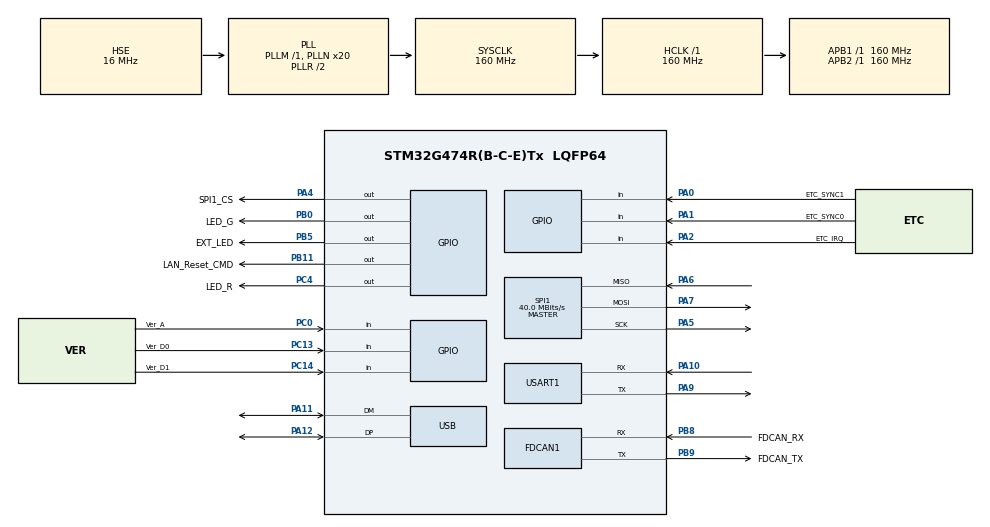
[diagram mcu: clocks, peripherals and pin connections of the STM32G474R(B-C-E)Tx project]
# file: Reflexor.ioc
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Dma.Request0=SPI1_RX
Dma.Request1=SPI1_TX
Dma.Request2=USART1_RX
Dma.Request3=USART1_TX
Dma.SPI1_RX.0.Direction=DMA_PERIPH_TO_MEMORY
Dma.SPI1_RX.0.EventEnable=DISABLE
Dma.SPI1_RX.0.Instance=DMA1_Channel3
Dma.SPI1_RX.0.MemDataAlignment=DMA_MDATAALIGN_BYTE
Dma.SPI1_RX.0.MemInc=DMA_MINC_ENABLE
Dma.SPI1_RX.0.Mode=DMA_NORMAL
Dma.SPI1_RX.0.PeriphDataAlignment=DMA_PDATAALIGN_BYTE
Dma.SPI1_RX.0.PeriphInc=DMA_PINC_DISABLE
Dma.SPI1_RX.0.Polarity=HAL_DMAMUX_REQ_GEN_RISING
Dma.SPI1_RX.0.Priority=DMA_PRIORITY_HIGH
Dma.SPI1_RX.0.RequestNumber=1
Dma.SPI1_RX.0.SignalID=NONE
Dma.SPI1_RX.0.SyncEnable=DISABLE
Dma.SPI1_RX.0.SyncPolarity=HAL_DMAMUX_SYNC_NO_EVENT
Dma.SPI1_RX.0.SyncRequestNumber=1
Dma.SPI1_RX.0.SyncSignalID=NONE
Dma.SPI1_TX.1.Direction=DMA_MEMORY_TO_PERIPH
Dma.SPI1_TX.1.EventEnable=DISABLE
Dma.SPI1_TX.1.Instance=DMA1_Channel1
Dma.SPI1_TX.1.MemDataAlignment=DMA_MDATAALIGN_BYTE
Dma.SPI1_TX.1.MemInc=DMA_MINC_ENABLE
Dma.SPI1_TX.1.Mode=DMA_NORMAL
Dma.SPI1_TX.1.PeriphDataAlignment=DMA_PDATAALIGN_BYTE
Dma.SPI1_TX.1.PeriphInc=DMA_PINC_DISABLE
Dma.SPI1_TX.1.Polarity=HAL_DMAMUX_REQ_GEN_RISING
Dma.SPI1_TX.1.Priority=DMA_PRIORITY_HIGH
Dma.SPI1_TX.1.RequestNumber=1
Dma.SPI1_TX.1.SignalID=NONE
Dma.SPI1_TX.1.SyncEnable=DISABLE
Dma.SPI1_TX.1.SyncPolarity=HAL_DMAMUX_SYNC_NO_EVENT
Dma.SPI1_TX.1.SyncRequestNumber=1
Dma.SPI1_TX.1.SyncSignalID=NONE
Dma.USART1_RX.2.Direction=DMA_PERIPH_TO_MEMORY
Dma.USART1_RX.2.EventEnable=DISABLE
Dma.USART1_RX.2.Instance=DMA1_Channel2
Dma.USART1_RX.2.MemDataAlignment=DMA_MDATAALIGN_BYTE
Dma.USART1_RX.2.MemInc=DMA_MINC_ENABLE
Dma.USART1_RX.2.Mode=DMA_NORMAL
Dma.USART1_RX.2.PeriphDataAlignment=DMA_PDATAALIGN_BYTE
Dma.USART1_RX.2.PeriphInc=DMA_PINC_DISABLE
Dma.USART1_RX.2.Polarity=HAL_DMAMUX_REQ_GEN_RISING
Dma.USART1_RX.2.Priority=DMA_PRIORITY_LOW
Dma.USART1_RX.2.RequestNumber=1
Dma.USART1_RX.2.SignalID=NONE
Dma.USART1_RX.2.SyncEnable=DISABLE
Dma.USART1_RX.2.SyncPolarity=HAL_DMAMUX_SYNC_NO_EVENT
Dma.USART1_RX.2.SyncRequestNumber=1
Dma.USART1_RX.2.SyncSignalID=NONE
Dma.USART1_TX.3.Direction=DMA_MEMORY_TO_PERIPH
Dma.USART1_TX.3.EventEnable=DISABLE
Dma.USART1_TX.3.Instance=DMA1_Channel4
Dma.USART1_TX.3.MemDataAlignment=DMA_MDATAALIGN_BYTE
Dma.USART1_TX.3.MemInc=DMA_MINC_ENABLE
Dma.USART1_TX.3.Mode=DMA_NORMAL
Dma.USART1_TX.3.PeriphDataAlignment=DMA_PDATAALIGN_BYTE
Dma.USART1_TX.3.PeriphInc=DMA_PINC_DISABLE
Dma.USART1_TX.3.Polarity=HAL_DMAMUX_REQ_GEN_RISING
Dma.USART1_TX.3.Priority=DMA_PRIORITY_LOW
Dma.USART1_TX.3.RequestNumber=1
Dma.USART1_TX.3.SignalID=NONE
Dma.USART1_TX.3.SyncEnable=DISABLE
Dma.USART1_TX.3.SyncPolarity=HAL_DMAMUX_SYNC_NO_EVENT
Dma.USART1_TX.3.SyncRequestNumber=1
Dma.USART1_TX.3.SyncSignalID=NONE
FDCAN1.AutoRetransmission=DISABLE
FDCAN1.CalculateBaudRateNominal=1000000
FDCAN1.CalculateTimeBitNominal=1000
FDCAN1.CalculateTimeQuantumNominal=25.0
FDCAN1.ClockDivider=FDCAN_CLOCK_DIV1
FDCAN1.DataPrescaler=1
FDCAN1.DataSyncJumpWidth=6
FDCAN1.DataTimeSeg1=13
FDCAN1.DataTimeSeg2=6
FDCAN1.FrameFormat=FDCAN_FRAME_FD_BRS
FDCAN1.NominalPrescaler=4
FDCAN1.NominalSyncJumpWidth=8
FDCAN1.NominalTimeSeg1=31
FDCAN1.NominalTimeSeg2=8
FDCAN1.StdFiltersNbr=1
FDCAN1.TransmitPause=DISABLE
FREERTOS.INCLUDE_eTaskGetState=1
FREERTOS.INCLUDE_pcTaskGetTaskName=1
FREERTOS.INCLUDE_xEventGroupSetBitFromISR=1
FREERTOS.INCLUDE_xTaskGetCurrentTaskHandle=1
FREERTOS.INCLUDE_xTimerPendFunctionCall=1
FREERTOS.Tasks01=appTest,-3,128,appTestTask,Default,NULL,Dynamic,NULL,NULL;ethCat,3,1024,ethCatTask,Default,NULL,Dynamic,NULL,NULL;canM,2,1024,canMTask,Default,NULL,Dynamic,NULL,NULL;canIdle,1,512,canIdleTask,Default,NULL,Dynamic,NULL,NULL
FREERTOS.Timers01=timerCounter500us,timerCounterCb,osTimerPeriodic,As weak,NULL,Dynamic,NULL
FREERTOS.configCHECK_FOR_STACK_OVERFLOW=0
FREERTOS.configENABLE_FPU=1
FREERTOS.configGENERATE_RUN_TIME_STATS=1
FREERTOS.configTIMER_TASK_PRIORITY=6
FREERTOS.configTOTAL_HEAP_SIZE=20480
FREERTOS.configUSE_DAEMON_TASK_STARTUP_HOOK=1
FREERTOS.configUSE_IDLE_HOOK=1
FREERTOS.configUSE_NEWLIB_REENTRANT=1
FREERTOS.configUSE_TIMERS=1
FREERTOS.configUSE_TRACE_FACILITY=1
Mcu.Family=STM32G4
Mcu.Name=STM32G474R(B-C-E)Tx
Mcu.Package=LQFP64
NVIC.DMA1_Channel1_IRQn=true\:5\:0\:false\:false\:true\:true\:false\:true\:true
NVIC.DMA1_Channel2_IRQn=true\:5\:0\:false\:false\:true\:true\:false\:true\:true
NVIC.DMA1_Channel3_IRQn=true\:5\:0\:false\:false\:true\:true\:false\:true\:true
NVIC.DMA1_Channel4_IRQn=true\:5\:0\:false\:false\:true\:true\:false\:true\:true
NVIC.FDCAN1_IT0_IRQn=true\:5\:0\:false\:false\:true\:true\:true\:true\:true
NVIC.PriorityGroup=NVIC_PRIORITYGROUP_4
NVIC.TIM1_UP_TIM16_IRQn=true\:15\:0\:false\:false\:true\:false\:false\:true\:true
NVIC.TimeBase=TIM1_UP_TIM16_IRQn
NVIC.TimeBaseIP=TIM1
NVIC.USART1_IRQn=true\:5\:0\:false\:false\:true\:true\:true\:true\:true
NVIC.USB_LP_IRQn=true\:5\:0\:false\:false\:true\:true\:false\:true\:true
PA0.GPIO_Label=ETC_SYNC1
PA0.GPIO_PuPd=GPIO_PULLUP
PA0.Signal=GPIO_Input
PA1.GPIO_Label=ETC_SYNC0
PA1.GPIO_PuPd=GPIO_PULLUP
PA1.Signal=GPIO_Input
PA10.GPIO_Speed=GPIO_SPEED_FREQ_HIGH
PA10.Mode=Asynchronous
PA10.Signal=USART1_RX
PA11.Mode=Device
PA11.Signal=USB_DM
PA12.Mode=Device
PA12.Signal=USB_DP
PA13.Mode=Trace_Asynchronous_SW
PA13.Signal=SYS_JTMS-SWDIO
PA14.Mode=Trace_Asynchronous_SW
PA14.Signal=SYS_JTCK-SWCLK
PA2.GPIO_Label=ETC_IRQ
PA2.GPIO_PuPd=GPIO_PULLUP
PA2.Signal=GPIO_Input
PA4.GPIO_Label=SPI1_CS
PA4.GPIO_PuPd=GPIO_PULLUP
PA4.GPIO_Speed=GPIO_SPEED_FREQ_HIGH
PA4.PinState=GPIO_PIN_SET
PA4.Signal=GPIO_Output
PA5.GPIO_Speed=GPIO_SPEED_FREQ_VERY_HIGH
PA5.Mode=Full_Duplex_Master
PA5.Signal=SPI1_SCK
PA6.GPIO_Speed=GPIO_SPEED_FREQ_VERY_HIGH
PA6.Mode=Full_Duplex_Master
PA6.Signal=SPI1_MISO
PA7.GPIO_Speed=GPIO_SPEED_FREQ_VERY_HIGH
PA7.Mode=Full_Duplex_Master
PA7.Signal=SPI1_MOSI
PA9.GPIO_Speed=GPIO_SPEED_FREQ_HIGH
PA9.Mode=Asynchronous
PA9.Signal=USART1_TX
PB0.GPIO_Label=LED_G
PB0.GPIO_PuPd=GPIO_PULLUP
PB0.GPIO_Speed=GPIO_SPEED_FREQ_LOW
PB0.PinState=GPIO_PIN_SET
PB0.Signal=GPIO_Output
PB11.GPIO_Label=LAN_Reset_CMD
PB11.Signal=GPIO_Output
PB3.Mode=Trace_Asynchronous_SW
PB3.Signal=SYS_JTDO-SWO
PB5.GPIO_Label=EXT_LED
PB5.Signal=GPIO_Output
PB8-BOOT0.GPIO_FM8=SYSCFG_FASTMODEPLUS_PB8
PB8-BOOT0.GPIO_Label=FDCAN_RX
PB8-BOOT0.GPIO_Speed=GPIO_SPEED_FREQ_HIGH
PB8-BOOT0.Mode=FDCAN_Activate
PB8-BOOT0.Signal=FDCAN1_RX
PB9.GPIO_FM9=SYSCFG_FASTMODEPLUS_PB9
PB9.GPIO_Label=FDCAN_TX
PB9.GPIO_Speed=GPIO_SPEED_FREQ_HIGH
PB9.Mode=FDCAN_Activate
PB9.Signal=FDCAN1_TX
PC0.GPIO_Label=Ver_A
PC0.Signal=GPIO_Input
PC13.GPIO_Label=Ver_D0
PC13.Signal=GPIO_Input
PC14-OSC32_IN.GPIO_Label=Ver_D1
PC14-OSC32_IN.Signal=GPIO_Input
PC4.GPIO_Label=LED_R
PC4.Signal=GPIO_Output
PC8.Signal=I2C3_SCL
PC9.Signal=I2C3_SDA
PF0-OSC_IN.Mode=HSE-External-Oscillator
PF0-OSC_IN.Signal=RCC_OSC_IN
PF1-OSC_OUT.Mode=HSE-External-Oscillator
PF1-OSC_OUT.Signal=RCC_OSC_OUT
ProjectManager.HeapSize=0x200
ProjectManager.StackSize=0x400
ProjectManager.TargetToolchain=STM32CubeIDE
RCC.ADC12Freq_Value=160000000
RCC.ADC345Freq_Value=160000000
RCC.AHBFreq_Value=160000000
RCC.APB1Freq_Value=160000000
RCC.APB1TimFreq_Value=160000000
RCC.APB2Freq_Value=160000000
RCC.APB2TimFreq_Value=160000000
RCC.CK48CLockSelection=RCC_USBCLKSOURCE_HSI48
RCC.CortexFreq_Value=160000000
RCC.EXTERNAL_CLOCK_VALUE=12288000
RCC.HCLKFreq_Value=160000000
RCC.HSE_VALUE=16000000
RCC.HSI48_VALUE=48000000
RCC.HSI_VALUE=16000000
RCC.LSE_VALUE=32768
RCC.PLLN=20
RCC.PLLSourceVirtual=RCC_PLLSOURCE_HSE
RCC.SYSCLKFreq_VALUE=160000000
RCC.SYSCLKSource=RCC_SYSCLKSOURCE_PLLCLK
RCC.USBFreq_Value=48000000
RCC.VCOOutputFreq_Value=320000000
SPI1.BaudRatePrescaler=SPI_BAUDRATEPRESCALER_4
SPI1.CLKPhase=SPI_PHASE_1EDGE
SPI1.CLKPolarity=SPI_POLARITY_LOW
SPI1.CalculateBaudRate=40.0 MBits/s
SPI1.DataSize=SPI_DATASIZE_8BIT
SPI1.Direction=SPI_DIRECTION_2LINES
SPI1.Mode=SPI_MODE_MASTER
SPI1.NSSPMode=SPI_NSS_PULSE_DISABLE
SPI1.VirtualType=VM_MASTER
USART1.FIFOMode=FIFOMODE_DISABLE
USART1.MSBFirstParam=ADVFEATURE_MSBFIRST_DISABLE
USART1.VirtualMode-Asynchronous=VM_ASYNC
USB_DEVICE.CLASS_NAME_FS=CDC
USB_DEVICE.VirtualMode=Cdc
USB_DEVICE.VirtualModeFS=Cdc_FS
VP_FREERTOS_VS_CMSIS_V1.Mode=CMSIS_V1
VP_SYS_VS_tim1.Mode=TIM1
VP_USB_DEVICE_VS_USB_DEVICE_CDC_FS.Mode=CDC_FS
board=custom

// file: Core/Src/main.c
/* USER CODE BEGIN Header */
/**
  ******************************************************************************
  * @file           : main.c
  * @brief          : Main program body
  ******************************************************************************
  * @attention
  *
  * Copyright (c) 2023 STMicroelectronics.
  * All rights reserved.
  *
  * This software is licensed under terms that can be found in the LICENSE file
  * in the root directory of this software component.
  * If no LICENSE file comes with this software, it is provided AS-IS.
  *
  ******************************************************************************
  */
/* USER CODE END Header */
#include "main.h"
#include "cmsis_os.h"
#include "dma.h"
#include "fdcan.h"
#include "spi.h"
#include "usart.h"
#include "usb_device.h"
#include "gpio.h"

/* USER CODE BEGIN Includes */
#include <stdint.h>
#include <stdio.h>
#include <unistd.h>
#include "uartDma.h"
#include "SEGGER_SYSVIEW.h"

/*  ZIV USB Testing start */

#include "usbd_cdc.h"
#include "usbd_cdc_if.h"
#include "usb_device.h"

/* USER CODE END Includes */

void SystemClock_Config(void);
void MX_FREERTOS_Init(void);

/* USER CODE BEGIN 0 */
logMessageStruct logMessage;
void sendMessage(messageOrigin origin, uint8_t paramCount,...){
	va_list args;
	va_start(args, paramCount);
	uint8_t buffer[40];
	buffer[0] ='$'; // size is 1 for pre and 32 for size of logmessage and some extras to avoid faults. the pre is for pcorssing in the parser host side.
	uint8_t *source = (uint8_t *)&logMessage;
	uint8_t *destination = (uint8_t *)&buffer[1];
	logMessage.origin = origin;
	ESC_read (0x0910, (void *) &logMessage.timestamp, 8);
	memset(logMessage.params , 0, sizeof(logMessage.params )); // clear to zeros
	for (int i = 0; i < paramCount; i++) {
	        uint32_t param = va_arg(args, uint32_t);
	        logMessage.params[i]=  param;
	}
	for (size_t i = 0; i < sizeof(logMessageStruct); i++) {
	    destination[i] = source[i];
	}
	buffer[1+sizeof(logMessageStruct)] ='\n';
	//memcpy((uint8_t * )&buffer[1],(uint8_t *) &logMessage, sizeof(logMessageStruct));
	//for (uint8_t i =0; i<sizeof(logMessageStruct);i++)
		//buffer[1+i] = (uint8_t *)(&logMessage +i);
	CDC_Transmit_FS((uint8_t*)&buffer, sizeof(logMessageStruct)+2);
	//CDC_Transmit_FS((uint8_t*)&logMessage, 32);
	}

void cdc_printf(const char *format, ...)
{
    va_list args;
    va_start(args, format);

    // Calculate the size needed for the formatted string
    int len = vsnprintf(NULL, 0, format, args);
    va_end(args);

    if (len <= 0)
        return;

    // Allocate a buffer for the formatted string
    char buffer[len + 1]; // +1 for null-terminator

    // Format the string into the buffer
    va_start(args, format);
    vsnprintf(buffer, sizeof(buffer), format, args);
    va_end(args);

    // Transmit the formatted string over USB CDC
    CDC_Transmit_FS((uint8_t*)buffer, len);
}

void measure(uint32_t timestamp){

	static uint32_t holder[100];
	static uint8_t counter =0;

	holder[counter++] = timestamp;
;
	if (counter >= 100){
		for (uint8_t i =0; i<100;++i)
			cdc_printf("%d\t%u\n",i, holder[i]);

		counter = 0;
	}

}

uint32_t GetCycleCount(void)
{
    return DWT->CYCCNT; // Read cycle counter value
}

/* USER CODE END 0 */

uint8_t inBuffer[RX_BUFFER_SIZE];
uint8_t usbRxEvent;
int main(void)
{

  /* MCU Configuration--------------------------------------------------------*/

  /* Reset of all peripherals, Initializes the Flash interface and the Systick. */
  HAL_Init();
  usbRxEvent = 0;

  /* Configure the system clock */
  SystemClock_Config();

  /* Initialize all configured peripherals */
  MX_GPIO_Init();
  MX_DMA_Init();
  MX_FDCAN1_Init();
  MX_SPI1_Init();
  MX_USART1_UART_Init();
  MX_USB_Device_Init();
  /* USER CODE BEGIN 2 */
  /* Configure and initialize SystemView */

  SCB->CCR |= SCB_CCR_DIV_0_TRP_Msk; // Enable fault trapping

//while(1){
	//HAL_WWDG_Refresh(&hwwdg);
	//HAL_GPIO_WritePin(LED_G_GPIO_Port, LED_G_Pin, GPIO_PIN_SET);
	//osDelay(5);
	//HAL_GPIO_WritePin(LED_G_GPIO_Port, LED_G_Pin, GPIO_PIN_RESET);
	//osDelay(5);
//}

  SEGGER_SYSVIEW_Conf();

  /* USER CODE END 2 */

  /* Call init function for freertos objects (in freertos.c) */
  MX_FREERTOS_Init();

  /* Start scheduler */
  osKernelStart();

  /* We should never get here as control is now taken by the scheduler */
  /* Infinite loop */
  while (1)
  {

  }
}

void SystemClock_Config(void)
{
  RCC_OscInitTypeDef RCC_OscInitStruct = {0};
  RCC_ClkInitTypeDef RCC_ClkInitStruct = {0};

  /** Configure the main internal regulator output voltage
  */
  HAL_PWREx_ControlVoltageScaling(PWR_REGULATOR_VOLTAGE_SCALE1_BOOST);

  /** Initializes the RCC Oscillators according to the specified parameters
  * in the RCC_OscInitTypeDef structure.
  */
  RCC_OscInitStruct.OscillatorType = RCC_OSCILLATORTYPE_HSI48|RCC_OSCILLATORTYPE_HSE;
  RCC_OscInitStruct.HSEState = RCC_HSE_ON;
  RCC_OscInitStruct.HSI48State = RCC_HSI48_ON;
  RCC_OscInitStruct.PLL.PLLState = RCC_PLL_ON;
  RCC_OscInitStruct.PLL.PLLSource = RCC_PLLSOURCE_HSE;
  RCC_OscInitStruct.PLL.PLLM = RCC_PLLM_DIV1;
  RCC_OscInitStruct.PLL.PLLN = 20;
  RCC_OscInitStruct.PLL.PLLP = RCC_PLLP_DIV2;
  RCC_OscInitStruct.PLL.PLLQ = RCC_PLLQ_DIV2;
  RCC_OscInitStruct.PLL.PLLR = RCC_PLLR_DIV2;
  if (HAL_RCC_OscConfig(&RCC_OscInitStruct) != HAL_OK)
  {
    Error_Handler();
  }

  /** Initializes the CPU, AHB and APB buses clocks
  */
  RCC_ClkInitStruct.ClockType = RCC_CLOCKTYPE_HCLK|RCC_CLOCKTYPE_SYSCLK
                              |RCC_CLOCKTYPE_PCLK1|RCC_CLOCKTYPE_PCLK2;
  RCC_ClkInitStruct.SYSCLKSource = RCC_SYSCLKSOURCE_PLLCLK;
  RCC_ClkInitStruct.AHBCLKDivider = RCC_SYSCLK_DIV1;
  RCC_ClkInitStruct.APB1CLKDivider = RCC_HCLK_DIV1;
  RCC_ClkInitStruct.APB2CLKDivider = RCC_HCLK_DIV1;

  if (HAL_RCC_ClockConfig(&RCC_ClkInitStruct, FLASH_LATENCY_4) != HAL_OK)
  {
    Error_Handler();
  }
}

void HAL_TIM_PeriodElapsedCallback(TIM_HandleTypeDef *htim)
{
  if (htim->Instance == TIM1) {
    HAL_IncTick();
  }
}

void Error_Handler(void)
{
  __disable_irq();
  while (1)
  {
  }
}

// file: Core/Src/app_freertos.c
/* USER CODE BEGIN Header */
/**
  ******************************************************************************
  * File Name          : app_freertos.c
  * Description        : Code for freertos applications
  ******************************************************************************
  * @attention
  *
  * Copyright (c) 2023 STMicroelectronics.
  * All rights reserved.
  *
  * This software is licensed under terms that can be found in the LICENSE file
  * in the root directory of this software component.
  * If no LICENSE file comes with this software, it is provided AS-IS.
  *
  ******************************************************************************
  */
/* USER CODE END Header */

#include "FreeRTOS.h"
#include "task.h"
#include "main.h"
#include "cmsis_os.h"

/* USER CODE BEGIN Includes */
#include "uartDma.h"
#include "lan9252.h"
#include "ethCat.h"
#include "canM.h"
#include "canIdle.h"
#include "appTest.h"
/* USER CODE END Includes */

osThreadId appTestHandle;
osThreadId ethCatHandle;
osThreadId canMHandle;
osThreadId canIdleHandle;
osTimerId timerCounter500usHandle;

void appTestTask(void const * argument);
void ethCatTask(void const * argument);
void canMTask(void const * argument);
void canIdleTask(void const * argument);
void timerCounterCb(void const * argument);

void MX_FREERTOS_Init(void); /* (MISRA C 2004 rule 8.1) */

/* Hook prototypes */
void configureTimerForRunTimeStats(void);
unsigned long getRunTimeCounterValue(void);
void vApplicationIdleHook(void);
void vApplicationDaemonTaskStartupHook(void);

/* USER CODE BEGIN 1 */
/* Functions needed when configGENERATE_RUN_TIME_STATS is on */
__weak void configureTimerForRunTimeStats(void)
{

}

__weak unsigned long getRunTimeCounterValue(void)
{
return 0;
}
/* USER CODE END 1 */

/* USER CODE BEGIN 2 */
__weak void vApplicationIdleHook( void )
{
   /* vApplicationIdleHook() will only be called if configUSE_IDLE_HOOK is set
   to 1 in FreeRTOSConfig.h. It will be called on each iteration of the idle
   task. It is essential that code added to this hook function never attempts
   to block in any way (for example, call xQueueReceive() with a block time
   specified, or call vTaskDelay()). If the application makes use of the
   vTaskDelete() API function (as this demo application does) then it is also
   important that vApplicationIdleHook() is permitted to return to its calling
   function, because it is the responsibility of the idle task to clean up
   memory allocated by the kernel to any task that has since been deleted. */
}
/* USER CODE END 2 */

/* USER CODE BEGIN DAEMON_TASK_STARTUP_HOOK */
void vApplicationDaemonTaskStartupHook(void)
{
  /* Initialize the uartDma driver. */
  uartDma_init();

  /* Initialize the lan9252 driver. */
  lan9252_Init();
}
/* USER CODE END DAEMON_TASK_STARTUP_HOOK */

void MX_FREERTOS_Init(void) {

  /* Create the timer(s) */
  /* definition and creation of timerCounter500us */
  osTimerDef(timerCounter500us, timerCounterCb);
  timerCounter500usHandle = osTimerCreate(osTimer(timerCounter500us), osTimerPeriodic, NULL);

  /* USER CODE BEGIN RTOS_TIMERS */
  xTimerStop(timerCounter500usHandle, pdMS_TO_TICKS(1));
  xTimerChangePeriod(timerCounter500usHandle, 1, 100);
  xTimerStart(timerCounter500usHandle, pdMS_TO_TICKS(1));

  /* start timers, add new ones, ... */
  /* USER CODE END RTOS_TIMERS */

  /* Create the thread(s) */
  /* definition and creation of appTest */
  osThreadDef(appTest, appTestTask, osPriorityIdle, 0, 128);
  appTestHandle = osThreadCreate(osThread(appTest), NULL);

  /* definition and creation of ethCat */
  osThreadDef(ethCat, ethCatTask, osPriorityHigh, 0, 1024);
  ethCatHandle = osThreadCreate(osThread(ethCat), NULL);

  /* definition and creation of canM */
  osThreadDef(canM, canMTask, osPriorityHigh, 0, 1024);
  canMHandle = osThreadCreate(osThread(canM), NULL);

  /* definition and creation of canIdle */
  osThreadDef(canIdle, canIdleTask, osPriorityAboveNormal, 0, 512);
  canIdleHandle = osThreadCreate(osThread(canIdle), NULL);

}

void appTestTask(void const * argument)
{
  /* USER CODE BEGIN appTestTask */
  AppTest_Init();

  /* Infinite loop */
  for(;;)
  {
    AppTest_MainFunction();

    osDelay(1);
  }
  /* USER CODE END appTestTask */
}

void ethCatTask(void const * argument)
{
  /* USER CODE BEGIN ethCatTask */
  /* Initialize the modules which used by this application. */
  ethCat_Init();

  /* Infinite loop */
  for(;;)
  {
    /* Run main function of ethCat. */
    ethCat_MainFunction();

    osDelay(1);
  }
  /* USER CODE END ethCatTask */
}

void canMTask(void const * argument)
{
  /* USER CODE BEGIN canMTask */
  canM_Init (&canM_Module);

  /* Infinite loop */
  for(;;)
  {
    /* Run main function of canM. */
    canM_MainFunction (&canM_Module);

    osDelay(1);
  }
  /* USER CODE END canMTask */
}

void canIdleTask(void const * argument)
{
  /* USER CODE BEGIN canIdleTask */
  canIdle_Init();

  /* Infinite loop */
  for(;;)
  {
    /* Run the main function of CanIdle. */
    canIdle_MainFunction();

    osDelay(1);
  }
  /* USER CODE END canIdleTask */
}

/* timerCounterCb function */
__weak void timerCounterCb(void const * argument)
{
}
